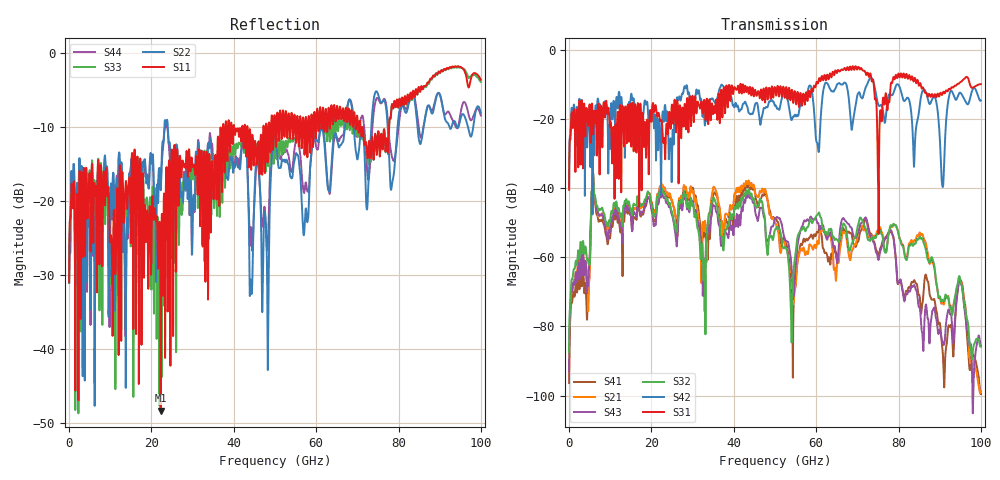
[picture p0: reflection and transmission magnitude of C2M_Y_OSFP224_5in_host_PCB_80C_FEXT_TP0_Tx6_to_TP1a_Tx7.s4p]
# GHz S RI R 45
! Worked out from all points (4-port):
!   4000 points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, 25 MHz to 100 GHz, reference 45 ohm
!   strongest paths, dB at 25 MHz, 25.02 GHz, 50.02 GHz, 75.03 GHz, 100 GHz:
!     S31: -40.5, -15.8, -10.8, -37.7, -9.9
!     S42: -39.6, -28.1, -16.1, -15.6, -14.6
!     S32: -87.4, -46.8, -52.0, -53.3, -85.9
!     S43: -93.0, -47.8, -48.9, -60.5, -85.5
!     S21: -93.1, -43.4, -49.9, -52.3, -98.7
!     S41: -96.4, -43.9, -48.7, -59.4, -99.6
!   lowest |S11| = -48.4 dB at 22.25 GHz (marker M1), VSWR 1.01, Z = 44.7 - j0.0145 ohm
!   |S11| at or under -10 dB: start of sweep to 37.38 GHz; 43.33 GHz to 47.19 GHz (3.867 GHz wide, 8.54 % of centre); 70.79 GHz to 77.69 GHz (6.897 GHz wide, 9.29 % of centre)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
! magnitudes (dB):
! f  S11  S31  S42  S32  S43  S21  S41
! 25 MHz  -31.0  -40.5  -39.6  -87.4  -93.0  -93.1  -96.4
! 5.925 GHz  -24.5  -22.6  -21.3  -37.8  -38.2  -38.4  -38.7
! 22.25 GHz  -48.4  -20.5  -31.0  -41.0  -42.6  -39.9  -41.5
! 54.33 GHz  -10.9  -13.7  -19.4  -68.6  -67.8  -73.4  -90.7
! 73.3 GHz  -13.7  -7.4  -7.9  -54.6  -53.7  -54.0  -53.1
! 90.67 GHz  -2.5  -12.7  -39.5  -72.3  -84.3  -72.9  -86.4
! 100 GHz  -3.6  -9.9  -14.6  -85.9  -85.5  -98.7  -99.6
